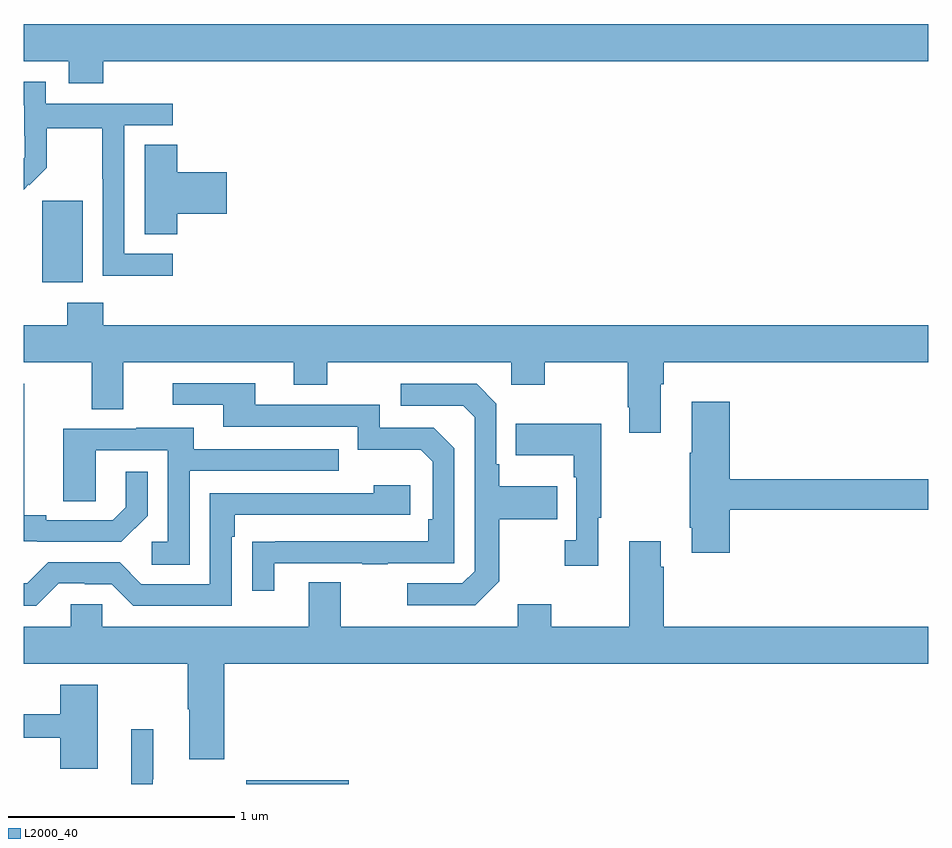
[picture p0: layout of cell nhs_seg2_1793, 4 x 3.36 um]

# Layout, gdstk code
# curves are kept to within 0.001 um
import gdstk
lib = gdstk.Library(unit=1e-6, precision=1e-09)
def R(c, l, rs):  # rectangles x0, y0, x1, y1
    for r in rs: c.add(gdstk.rectangle(r[:2], r[2:], *l))
def P(c, l, *ps):  # polygons
    for p in ps: c.add(gdstk.Polygon(p, *l))
L2000_40 = (2000, 40)

nhs_seg2_1793 = lib.new_cell('nhs_seg2_1793')
R(nhs_seg2_1793, L2000_40, [(205.984,617.8,206.438,617.816), (205.082,620.018,205.261,620.379)])
P(nhs_seg2_1793, L2000_40, [(205.352,620.996),(209,620.996),(209,621.16),(205,621.16),(205,620.996),(205.199,620.996),(205.199,620.897),(205.352,620.897)],
  [(205.66,620.145),(205.446,620.145),(205.446,620.712),(205.66,620.712),(205.66,620.808),(205.098,620.808),(205.098,620.905),(205,620.905),(205,620.801),(205.002,620.801),(205.002,620.667),(205.004,620.667),(205.004,620.57),(205,620.566),(205,620.428),(205.023,620.451),(205.026,620.448),(205.103,620.525),(205.103,620.7),(205.348,620.7),(205.348,620.476),(205.35,620.476),(205.35,620.047),(205.66,620.047)],
  [(205.679,620.321),(205.897,620.321),(205.897,620.504),(205.679,620.504),(205.679,620.627),(205.535,620.627),(205.535,620.23),(205.679,620.23)],
  [(207.817,619.568),(207.83,619.568),(207.83,619.664),(209,619.664),(209,619.828),(205.352,619.828),(205.352,619.927),(205.192,619.927),(205.192,619.828),(205,619.828),(205,619.664),(205.301,619.664),(205.301,619.456),(205.441,619.456),(205.441,619.664),(206.195,619.664),(206.195,619.565),(206.343,619.565),(206.343,619.664),(207.156,619.664),(207.156,619.565),(207.303,619.565),(207.303,619.664),(207.67,619.664),(207.67,619.465),(207.677,619.465),(207.677,619.353),(207.817,619.353)],
  [(206.107,618.777),(206.497,618.777),(206.497,618.772),(206.609,618.772),(206.609,618.777),(206.904,618.777),(206.904,619.284),(206.814,619.374),(206.574,619.374),(206.574,619.476),(206.023,619.476),(206.023,619.572),(205.659,619.572),(205.659,619.476),(205.883,619.476),(205.883,619.38),(206.478,619.38),(206.478,619.277),(206.755,619.277),(206.808,619.224),(206.808,618.97),(206.788,618.97),(206.788,618.873),(206.011,618.872),(206.011,618.654),(206.107,618.654)],
  [(207.103,618.697),(207.103,618.97),(207.359,618.97),(207.359,619.117),(207.103,619.117),(207.103,619.213),(207.09,619.213),(207.09,619.482),(207.003,619.569),(206.667,619.569),(206.667,619.473),(206.943,619.473),(206.994,619.422),(206.994,618.741),(206.94,618.687),(206.697,618.687),(206.697,618.591),(206.997,618.591)],
  [(205.548,618.986),(205.548,619.18),(205.451,619.18),(205.451,619.023),(205.394,618.966),(205.099,618.966),(205.099,618.989),(205.003,618.989),(205.003,619.569),(205,619.569),(205,618.873),(205.06,618.873),(205.06,618.87),(205.432,618.87)],
  [(208.121,619.012),(209,619.012),(209,619.148),(208.121,619.148),(208.121,619.489),(207.953,619.489),(207.953,619.265),(207.946,619.265),(207.946,618.934),(207.953,618.934),(207.953,618.822),(208.121,618.822)],
  [(207.541,618.977),(207.553,618.977),(207.553,619.393),(207.175,619.393),(207.175,619.253),(207.432,619.253),(207.432,619.157),(207.444,619.157),(207.444,618.878),(207.393,618.878),(207.393,618.765),(207.541,618.765)],
  [(205.734,619.185),(206.393,619.185),(206.393,619.281),(205.753,619.281),(205.753,619.375),(205.499,619.375),(205.499,619.371),(205.175,619.371),(205.175,619.051),(205.32,619.051),(205.32,619.275),(205.638,619.275),(205.638,618.87),(205.566,618.87),(205.566,618.769),(205.734,618.769)],
  [(205.155,618.687),(205.271,618.687),(205.271,618.684),(205.389,618.684),(205.485,618.588),(205.92,618.588),(205.92,618.893),(205.933,618.893),(205.933,618.99),(206.71,618.99),(206.71,619.12),(206.549,619.12),(206.549,619.086),(205.824,619.086),(205.824,618.684),(205.521,618.684),(205.425,618.78),(205.11,618.78),(205.017,618.687),(205,618.687),(205,618.587),(205.055,618.587)],
  [(205.886,618.332),(209,618.332),(209,618.496),(207.83,618.496),(207.83,618.761),(207.817,618.761),(207.817,618.874),(207.677,618.874),(207.677,618.496),(207.333,618.496),(207.333,618.595),(207.185,618.595),(207.185,618.496),(206.401,618.496),(206.401,618.691),(206.261,618.691),(206.261,618.496),(205.347,618.496),(205.347,618.594),(205.209,618.594),(205.209,618.496),(205,618.496),(205,618.332),(205.726,618.332),(205.726,618.13),(205.733,618.13),(205.733,617.91),(205.886,617.91)],
  [(205.327,618.238),(205.162,618.238),(205.162,618.108),(205,618.108),(205,618.004),(205.162,618.004),(205.162,617.868),(205.327,617.868)],
  [(205.572,617.821),(205.573,617.821),(205.573,618.043),(205.475,618.043),(205.475,617.8),(205.572,617.8)])

lib.write_gds('nhs_seg2_1793.gds')
